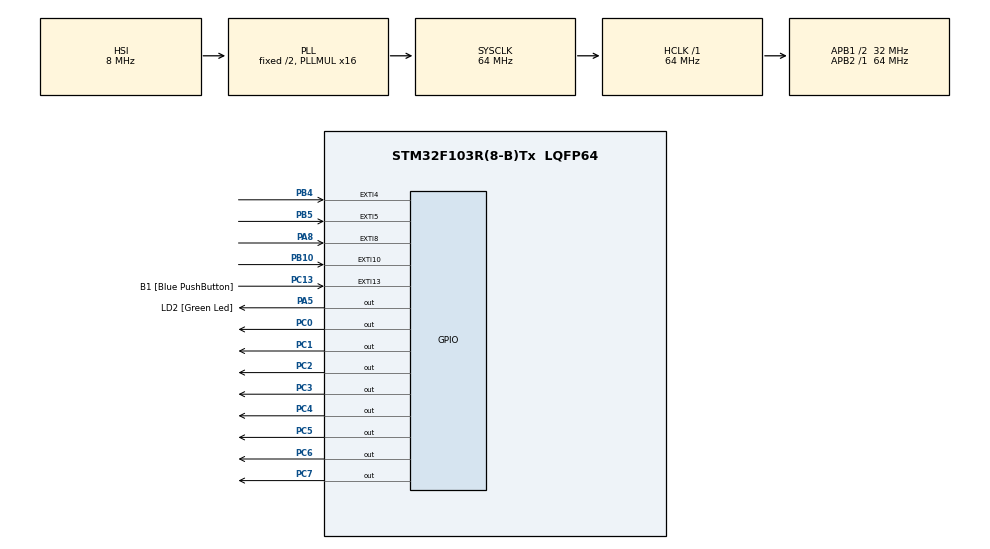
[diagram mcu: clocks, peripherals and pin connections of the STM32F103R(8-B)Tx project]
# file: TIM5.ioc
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Mcu.Family=STM32F1
Mcu.Name=STM32F103R(8-B)Tx
Mcu.Package=LQFP64
NVIC.EXTI15_10_IRQn=true\:0\:0\:false\:false\:true\:true\:true\:true
NVIC.EXTI4_IRQn=true\:0\:0\:false\:false\:true\:true\:true\:true
NVIC.EXTI9_5_IRQn=true\:0\:0\:false\:false\:true\:true\:true\:true
NVIC.PriorityGroup=NVIC_PRIORITYGROUP_4
NVIC.TIM3_IRQn=true\:0\:0\:false\:false\:true\:true\:true\:true
PA13.GPIO_Label=TMS
PA13.Mode=Serial_Wire
PA13.Signal=SYS_JTMS-SWDIO
PA14.GPIO_Label=TCK
PA14.Mode=Serial_Wire
PA14.Signal=SYS_JTCK-SWCLK
PA5.GPIO_Label=LD2 [Green Led]
PA5.GPIO_ModeDefaultOutputPP=GPIO_MODE_OUTPUT_PP
PA5.GPIO_PuPd=GPIO_NOPULL
PA5.GPIO_Speed=GPIO_SPEED_FREQ_LOW
PA5.Signal=GPIO_Output
PA8.Signal=GPXTI8
PB10.Signal=GPXTI10
PB3.GPIO_Label=SWO
PB3.Signal=SYS_JTDO-TRACESWO
PB4.Signal=GPXTI4
PB5.Signal=GPXTI5
PC0.Signal=GPIO_Output
PC1.Signal=GPIO_Output
PC13-TAMPER-RTC.GPIO_Label=B1 [Blue PushButton]
PC13-TAMPER-RTC.GPIO_PuPd=GPIO_NOPULL
PC13-TAMPER-RTC.Signal=GPXTI13
PC2.Signal=GPIO_Output
PC3.Signal=GPIO_Output
PC4.Signal=GPIO_Output
PC5.Signal=GPIO_Output
PC6.Signal=GPIO_Output
PC7.Signal=GPIO_Output
ProjectManager.HeapSize=0x200
ProjectManager.StackSize=0x400
ProjectManager.TargetToolchain=STM32CubeIDE
RCC.AHBFreq_Value=64000000
RCC.APB1CLKDivider=RCC_HCLK_DIV2
RCC.APB1Freq_Value=32000000
RCC.APB1TimFreq_Value=64000000
RCC.APB2Freq_Value=64000000
RCC.APB2TimFreq_Value=64000000
RCC.HCLKFreq_Value=64000000
RCC.PLLMUL=RCC_PLL_MUL16
RCC.RTCClockSelection=RCC_RTCCLKSOURCE_LSE
RCC.SYSCLKFreq_VALUE=64000000
RCC.SYSCLKSource=RCC_SYSCLKSOURCE_PLLCLK
RCC.USBFreq_Value=64000000
TIM3.Channel-Output\ Compare1\ No\ Output=TIM_CHANNEL_1
TIM3.Channel-Output\ Compare2\ No\ Output=TIM_CHANNEL_2
TIM3.OC1Preload=ENABLE
TIM3.OC2Preload=ENABLE
TIM3.OCPolarity_1=TIM_OCPOLARITY_LOW
TIM3.OCPolarity_2=TIM_OCPOLARITY_LOW
TIM3.Period=10000-1
TIM3.Pulse-Output\ Compare1\ No\ Output=10000-1
TIM3.Pulse-Output\ Compare2\ No\ Output=10000-1
VP_TIM3_VS_ClockSourceINT.Mode=Internal
VP_TIM3_VS_no_output1.Mode=Output Compare1 No Output
VP_TIM3_VS_no_output2.Mode=Output Compare2 No Output
board=NUCLEO-F103RB

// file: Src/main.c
/* USER CODE BEGIN Header */
/**
 ******************************************************************************
 * @file           : main.c
 * @brief          : Main program body
 ******************************************************************************
 * @attention
 *
 * Copyright (c) 2024 STMicroelectronics.
 * All rights reserved.
 *
 * This software is licensed under terms that can be found in the LICENSE file
 * in the root directory of this software component.
 * If no LICENSE file comes with this software, it is provided AS-IS.
 *
 ******************************************************************************
 */
/* USER CODE END Header */
#include "main.h"

TIM_HandleTypeDef htim3;

void SystemClock_Config(void);
static void MX_GPIO_Init(void);
static void MX_TIM3_Init(void);
/* USER CODE BEGIN PFP */
void HAL_TIM_PeriodElapsedCallback(TIM_HandleTypeDef *htim);
void HAL_TIM_OC_DelayElapsedCallback(TIM_HandleTypeDef *htim);
void HAL_GPIO_EXTI_Callback(uint16_t GPIO_Pin);
/* USER CODE END PFP */

/* USER CODE BEGIN 0 */
TIM_OC_InitTypeDef sConfigOC;		// 변수 정의 해줘야함
/* USER CODE END 0 */

int main(void) {

	/* MCU Configuration--------------------------------------------------------*/

	/* Reset of all peripherals, Initializes the Flash interface and the Systick. */
	HAL_Init();

	/* Configure the system clock */
	SystemClock_Config();

	/* Initialize all configured peripherals */
	MX_GPIO_Init();
	MX_TIM3_Init();
	/* USER CODE BEGIN 2 */
	HAL_TIM_Base_Start_IT(&htim3);
	HAL_TIM_OC_Start_IT(&htim3, TIM_CHANNEL_1);
	HAL_TIM_OC_Start_IT(&htim3, TIM_CHANNEL_2);
	/* USER CODE END 2 */

	/* Infinite loop */
	while (1) {

	}
}

void SystemClock_Config(void) {
	RCC_OscInitTypeDef RCC_OscInitStruct = { 0 };
	RCC_ClkInitTypeDef RCC_ClkInitStruct = { 0 };

	/** Initializes the RCC Oscillators according to the specified parameters
	 * in the RCC_OscInitTypeDef structure.
	 */
	RCC_OscInitStruct.OscillatorType = RCC_OSCILLATORTYPE_HSI;
	RCC_OscInitStruct.HSIState = RCC_HSI_ON;
	RCC_OscInitStruct.HSICalibrationValue = RCC_HSICALIBRATION_DEFAULT;
	RCC_OscInitStruct.PLL.PLLState = RCC_PLL_ON;
	RCC_OscInitStruct.PLL.PLLSource = RCC_PLLSOURCE_HSI_DIV2;
	RCC_OscInitStruct.PLL.PLLMUL = RCC_PLL_MUL16;
	if (HAL_RCC_OscConfig(&RCC_OscInitStruct) != HAL_OK) {
		Error_Handler();
	}

	/** Initializes the CPU, AHB and APB buses clocks
	 */
	RCC_ClkInitStruct.ClockType = RCC_CLOCKTYPE_HCLK | RCC_CLOCKTYPE_SYSCLK
			| RCC_CLOCKTYPE_PCLK1 | RCC_CLOCKTYPE_PCLK2;
	RCC_ClkInitStruct.SYSCLKSource = RCC_SYSCLKSOURCE_PLLCLK;
	RCC_ClkInitStruct.AHBCLKDivider = RCC_SYSCLK_DIV1;
	RCC_ClkInitStruct.APB1CLKDivider = RCC_HCLK_DIV2;
	RCC_ClkInitStruct.APB2CLKDivider = RCC_HCLK_DIV1;

	if (HAL_RCC_ClockConfig(&RCC_ClkInitStruct, FLASH_LATENCY_2) != HAL_OK) {
		Error_Handler();
	}
}

static void MX_TIM3_Init(void) {

	TIM_ClockConfigTypeDef sClockSourceConfig = { 0 };
	TIM_MasterConfigTypeDef sMasterConfig = { 0 };
	TIM_OC_InitTypeDef sConfigOC = { 0 };

	htim3.Instance = TIM3;
	htim3.Init.Prescaler = 0;
	htim3.Init.CounterMode = TIM_COUNTERMODE_UP;
	htim3.Init.Period = 9999;
	htim3.Init.ClockDivision = TIM_CLOCKDIVISION_DIV1;
	htim3.Init.AutoReloadPreload = TIM_AUTORELOAD_PRELOAD_DISABLE;
	if (HAL_TIM_Base_Init(&htim3) != HAL_OK) {
		Error_Handler();
	}
	sClockSourceConfig.ClockSource = TIM_CLOCKSOURCE_INTERNAL;
	if (HAL_TIM_ConfigClockSource(&htim3, &sClockSourceConfig) != HAL_OK) {
		Error_Handler();
	}
	if (HAL_TIM_OC_Init(&htim3) != HAL_OK) {
		Error_Handler();
	}
	sMasterConfig.MasterOutputTrigger = TIM_TRGO_RESET;
	sMasterConfig.MasterSlaveMode = TIM_MASTERSLAVEMODE_DISABLE;
	if (HAL_TIMEx_MasterConfigSynchronization(&htim3, &sMasterConfig)
			!= HAL_OK) {
		Error_Handler();
	}
	sConfigOC.OCMode = TIM_OCMODE_TIMING;
	sConfigOC.Pulse = 9999;
	sConfigOC.OCPolarity = TIM_OCPOLARITY_LOW;
	sConfigOC.OCFastMode = TIM_OCFAST_DISABLE;
	if (HAL_TIM_OC_ConfigChannel(&htim3, &sConfigOC, TIM_CHANNEL_1) != HAL_OK) {
		Error_Handler();
	}
	__HAL_TIM_ENABLE_OCxPRELOAD(&htim3, TIM_CHANNEL_1);
	if (HAL_TIM_OC_ConfigChannel(&htim3, &sConfigOC, TIM_CHANNEL_2) != HAL_OK) {
		Error_Handler();
	}
	__HAL_TIM_ENABLE_OCxPRELOAD(&htim3, TIM_CHANNEL_2);

}

static void MX_GPIO_Init(void) {
	GPIO_InitTypeDef GPIO_InitStruct = { 0 };

	/* GPIO Ports Clock Enable */
	__HAL_RCC_GPIOC_CLK_ENABLE();
	__HAL_RCC_GPIOA_CLK_ENABLE();
	__HAL_RCC_GPIOB_CLK_ENABLE();

	/*Configure GPIO pin Output Level */
	HAL_GPIO_WritePin(GPIOC,
			GPIO_PIN_0 | GPIO_PIN_1 | GPIO_PIN_2 | GPIO_PIN_3 | GPIO_PIN_4
					| GPIO_PIN_5 | GPIO_PIN_6 | GPIO_PIN_7, GPIO_PIN_RESET);

	/*Configure GPIO pin Output Level */
	HAL_GPIO_WritePin(LD2_GPIO_Port, LD2_Pin, GPIO_PIN_RESET);

	/*Configure GPIO pin : B1_Pin */
	GPIO_InitStruct.Pin = B1_Pin;
	GPIO_InitStruct.Mode = GPIO_MODE_IT_RISING;
	GPIO_InitStruct.Pull = GPIO_NOPULL;
	HAL_GPIO_Init(B1_GPIO_Port, &GPIO_InitStruct);

	/*Configure GPIO pins : PC0 PC1 PC2 PC3
	 PC4 PC5 PC6 PC7 */
	GPIO_InitStruct.Pin = GPIO_PIN_0 | GPIO_PIN_1 | GPIO_PIN_2 | GPIO_PIN_3
			| GPIO_PIN_4 | GPIO_PIN_5 | GPIO_PIN_6 | GPIO_PIN_7;
	GPIO_InitStruct.Mode = GPIO_MODE_OUTPUT_PP;
	GPIO_InitStruct.Pull = GPIO_NOPULL;
	GPIO_InitStruct.Speed = GPIO_SPEED_FREQ_LOW;
	HAL_GPIO_Init(GPIOC, &GPIO_InitStruct);

	/*Configure GPIO pin : LD2_Pin */
	GPIO_InitStruct.Pin = LD2_Pin;
	GPIO_InitStruct.Mode = GPIO_MODE_OUTPUT_PP;
	GPIO_InitStruct.Pull = GPIO_NOPULL;
	GPIO_InitStruct.Speed = GPIO_SPEED_FREQ_LOW;
	HAL_GPIO_Init(LD2_GPIO_Port, &GPIO_InitStruct);

	/*Configure GPIO pins : PB10 PB4 PB5 */
	GPIO_InitStruct.Pin = GPIO_PIN_10 | GPIO_PIN_4 | GPIO_PIN_5;
	GPIO_InitStruct.Mode = GPIO_MODE_IT_RISING;
	GPIO_InitStruct.Pull = GPIO_NOPULL;
	HAL_GPIO_Init(GPIOB, &GPIO_InitStruct);

	/*Configure GPIO pin : PA8 */
	GPIO_InitStruct.Pin = GPIO_PIN_8;
	GPIO_InitStruct.Mode = GPIO_MODE_IT_RISING;
	GPIO_InitStruct.Pull = GPIO_NOPULL;
	HAL_GPIO_Init(GPIOA, &GPIO_InitStruct);

	/* EXTI interrupt init*/
	HAL_NVIC_SetPriority(EXTI4_IRQn, 0, 0);
	HAL_NVIC_EnableIRQ(EXTI4_IRQn);

	HAL_NVIC_SetPriority(EXTI9_5_IRQn, 0, 0);
	HAL_NVIC_EnableIRQ(EXTI9_5_IRQn);

	HAL_NVIC_SetPriority(EXTI15_10_IRQn, 0, 0);
	HAL_NVIC_EnableIRQ(EXTI15_10_IRQn);

}

/* USER CODE BEGIN 4 */
void HAL_TIM_PeriodElapsedCallback(TIM_HandleTypeDef *htim) {
	if (htim->Instance == TIM3) {
		HAL_GPIO_WritePin(GPIOC,
				GPIO_PIN_0 | GPIO_PIN_1 | GPIO_PIN_6 | GPIO_PIN_7,
				GPIO_PIN_SET);
	}
}
void HAL_TIM_OC_DelayElapsedCallback(TIM_HandleTypeDef *htim) {
	if (htim->Instance == TIM3 && htim->Channel == TIM_CHANNEL_1)
	{
		HAL_GPIO_WritePin(GPIOC, GPIO_PIN_0 | GPIO_PIN_1, GPIO_PIN_RESET);
	}
	else if (htim->Instance == TIM3 && htim->Channel == TIM_CHANNEL_2)
	{
		HAL_GPIO_WritePin(GPIOC, GPIO_PIN_6 | GPIO_PIN_7, GPIO_PIN_RESET);
	}

}
void HAL_GPIO_EXTI_Callback(uint16_t GPIO_Pin)
{
	if (GPIO_Pin == B1_Pin)
	{
		sConfigOC.Pulse = 9999;		// 밝기 최대
		HAL_TIM_OC_ConfigChannel(&htim3, &sConfigOC, TIM_CHANNEL_1);
		HAL_TIM_OC_ConfigChannel(&htim3, &sConfigOC, TIM_CHANNEL_2);
	}
	 if (GPIO_Pin == GPIO_PIN_8)
	{
		sConfigOC.Pulse = 2500;		// 밝기 최대
		HAL_TIM_OC_ConfigChannel(&htim3, &sConfigOC, TIM_CHANNEL_1);
	}
	 if (GPIO_Pin == GPIO_PIN_4)
	{
		sConfigOC.Pulse = 5000;		// 밝기 최대
		HAL_TIM_OC_ConfigChannel(&htim3, &sConfigOC, TIM_CHANNEL_1);
	}
	 if (GPIO_Pin == GPIO_PIN_5)
	{
		sConfigOC.Pulse = 1200;		// 밝기 최대
		HAL_TIM_OC_ConfigChannel(&htim3, &sConfigOC, TIM_CHANNEL_2);
	}
	 if (GPIO_Pin == GPIO_PIN_10)
	{
		sConfigOC.Pulse = 7000;		// 밝기 최대
		HAL_TIM_OC_ConfigChannel(&htim3, &sConfigOC, TIM_CHANNEL_2);
	}
}
/* USER CODE END 4 */

void Error_Handler(void) {
	__disable_irq();
	while (1) {
	}
}
